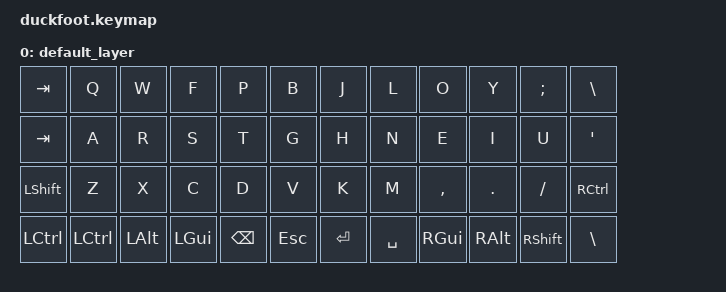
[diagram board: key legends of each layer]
/*
 * Copyright (c) 2020 The ZMK Contributors
 *
 * SPDX-License-Identifier: MIT
 */

#include <behaviors.dtsi>
#include <dt-bindings/zmk/keys.h>
#include <dt-bindings/zmk/bt.h>
#include <dt-bindings/zmk/mouse.h>


&mt {
    tapping-term-ms = <200>;
    flavor = "tap-preferred";
 };
&sk {
     release-after-ms = <2000>;
     quick-release;
 };


/ { 

        keymap {
                compatible = "zmk,keymap";
                
       		default_layer {
// ---------------------------------------------------------------------------------------------------------------------------------
// |  TAB  |  Q  |  W  |  F   |  P   |  B   |                                          |  J   |  L    |  O    |  Y   |   :   |   \  |
// |  LCK  |  A  |  R  |  S   |  T   |  G   |                                          |  H   |  N    |  E    |  I   |   U   |   '  |
// | SHIFT |  Z  |  X  |  C   |  D   |  V   |                                          |  K   |  M    |  ,    |  .   |   /   | CTRL |
// |       |     |     |  |   GUI    |   BSPCE   |    ESC    |       |   ENTER   |   SPACE   |   SPACE   |   |      |       |      |
		bindings = <
	    &kp TAB		&kp Q		&kp W		&kp F		&kp P		&kp B	 		&kp J	&kp L	&kp O			&kp Y		&kp SEMI	&kp BSLH
	    &kp TAB		&kp A		&kp R		&kp S		&kp T		&kp G	 		&kp H	&kp N	&kp E			&kp I		&kp U		&kp SQT
	    &kp LSHIFT	&kp Z		&kp X		&kp C		&kp D		&kp V	 		&kp K	&kp M	&kp COMMA		&kp DOT		&kp FSLH	&kp RCTRL
	    &kp LCTL	&kp LCTL	&kp LALT	&kp LGUI	&kp BSPC	&kp ESC 		&kp RET	&kp SPACE	&kp RGUI	&kp RALT	&kp RSHIFT	&kp BSLH
		>;
		};

       	
        
	};
};
